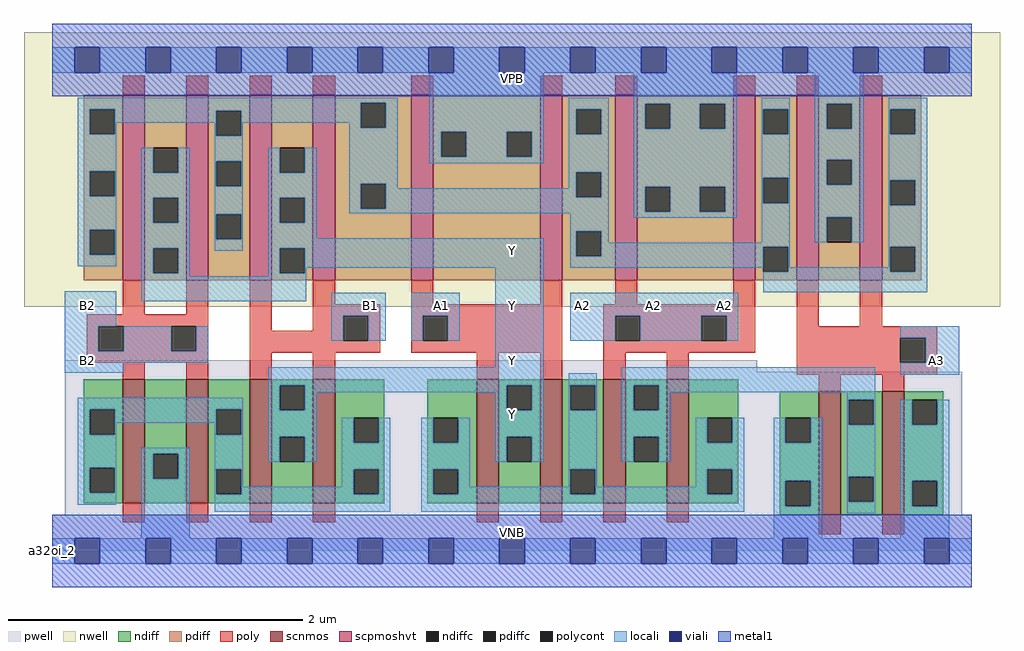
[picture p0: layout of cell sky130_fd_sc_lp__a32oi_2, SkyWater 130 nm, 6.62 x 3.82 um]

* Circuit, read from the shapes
.subckt sky130_fd_sc_lp__a32oi_2 A1 A2 A3 B1 B2 VGND VNB VPB VPWR Y
XM1 VGND B2 n1 VNB sky130_fd_pr__nfet_01v8 w=0.84 l=0.15 m=2
XM2 Y B1 n1 VNB sky130_fd_pr__nfet_01v8 w=0.84 l=0.15 m=2
XM3 Y A1 n2 VNB sky130_fd_pr__nfet_01v8 w=0.84 l=0.15 m=2
XM4 n3 A2 n2 VNB sky130_fd_pr__nfet_01v8 w=0.84 l=0.15 m=2
XM5 n3 A3 VGND VNB sky130_fd_pr__nfet_01v8 w=0.84 l=0.15 m=2
XM6 Y B2 n4 VPB sky130_fd_pr__pfet_01v8_hvt w=1.26 l=0.15 m=2
XM7 Y B1 n4 VPB sky130_fd_pr__pfet_01v8_hvt w=1.26 l=0.15 m=2
XM8 VPWR A1 n4 VPB sky130_fd_pr__pfet_01v8_hvt w=1.26 l=0.15 m=2
XM9 VPWR A2 n4 VPB sky130_fd_pr__pfet_01v8_hvt w=1.26 l=0.15 m=2
XM10 VPWR A3 n4 VPB sky130_fd_pr__pfet_01v8_hvt w=1.26 l=0.15 m=2
.ends

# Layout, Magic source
magic
tech sky130A
magscale 1 2
<< nwell >>
rect -38 331 1286 704
<< pwell >>
rect 17 243 957 259
rect 17 49 1235 243
rect 0 0 1248 49
<< scnmos >>
rect 96 65 126 233
rect 182 65 212 233
rect 268 65 298 233
rect 354 65 384 233
rect 576 65 606 233
rect 662 65 692 233
rect 748 65 778 233
rect 834 65 864 233
rect 1040 49 1070 217
rect 1126 49 1156 217
<< scpmoshvt >>
rect 96 367 126 619
rect 182 367 212 619
rect 268 367 298 619
rect 354 367 384 619
rect 487 367 517 619
rect 662 367 692 619
rect 764 367 794 619
rect 924 367 954 619
rect 1010 367 1040 619
rect 1096 367 1126 619
<< ndiff >>
rect 43 192 96 233
rect 43 158 51 192
rect 85 158 96 192
rect 43 113 96 158
rect 43 79 51 113
rect 85 79 96 113
rect 43 65 96 79
rect 126 132 182 233
rect 126 98 137 132
rect 171 98 182 132
rect 126 65 182 98
rect 212 192 268 233
rect 212 158 223 192
rect 257 158 268 192
rect 212 111 268 158
rect 212 77 223 111
rect 257 77 268 111
rect 212 65 268 77
rect 298 225 354 233
rect 298 191 309 225
rect 343 191 354 225
rect 298 155 354 191
rect 298 121 309 155
rect 343 121 354 155
rect 298 65 354 121
rect 384 181 451 233
rect 384 147 409 181
rect 443 147 451 181
rect 384 111 451 147
rect 384 77 409 111
rect 443 77 451 111
rect 384 65 451 77
rect 509 181 576 233
rect 509 147 517 181
rect 551 147 576 181
rect 509 111 576 147
rect 509 77 517 111
rect 551 77 576 111
rect 509 65 576 77
rect 606 225 662 233
rect 606 191 617 225
rect 651 191 662 225
rect 606 155 662 191
rect 606 121 617 155
rect 651 121 662 155
rect 606 65 662 121
rect 692 225 748 233
rect 692 191 703 225
rect 737 191 748 225
rect 692 111 748 191
rect 692 77 703 111
rect 737 77 748 111
rect 692 65 748 77
rect 778 225 834 233
rect 778 191 789 225
rect 823 191 834 225
rect 778 155 834 191
rect 778 121 789 155
rect 823 121 834 155
rect 778 65 834 121
rect 864 181 931 233
rect 864 147 889 181
rect 923 147 931 181
rect 864 111 931 147
rect 864 77 889 111
rect 923 77 931 111
rect 864 65 931 77
rect 987 181 1040 217
rect 987 147 995 181
rect 1029 147 1040 181
rect 987 95 1040 147
rect 987 61 995 95
rect 1029 61 1040 95
rect 987 49 1040 61
rect 1070 205 1126 217
rect 1070 171 1081 205
rect 1115 171 1126 205
rect 1070 101 1126 171
rect 1070 67 1081 101
rect 1115 67 1126 101
rect 1070 49 1126 67
rect 1156 205 1209 217
rect 1156 171 1167 205
rect 1201 171 1209 205
rect 1156 95 1209 171
rect 1156 61 1167 95
rect 1201 61 1209 95
rect 1156 49 1209 61
<< pdiff >>
rect 43 599 96 619
rect 43 565 51 599
rect 85 565 96 599
rect 43 515 96 565
rect 43 481 51 515
rect 85 481 96 515
rect 43 436 96 481
rect 43 402 51 436
rect 85 402 96 436
rect 43 367 96 402
rect 126 547 182 619
rect 126 513 137 547
rect 171 513 182 547
rect 126 479 182 513
rect 126 445 137 479
rect 171 445 182 479
rect 126 411 182 445
rect 126 377 137 411
rect 171 377 182 411
rect 126 367 182 377
rect 212 597 268 619
rect 212 563 223 597
rect 257 563 268 597
rect 212 529 268 563
rect 212 495 223 529
rect 257 495 268 529
rect 212 457 268 495
rect 212 423 223 457
rect 257 423 268 457
rect 212 367 268 423
rect 298 547 354 619
rect 298 513 309 547
rect 343 513 354 547
rect 298 479 354 513
rect 298 445 309 479
rect 343 445 354 479
rect 298 411 354 445
rect 298 377 309 411
rect 343 377 354 411
rect 298 367 354 377
rect 384 608 487 619
rect 384 574 419 608
rect 453 574 487 608
rect 384 498 487 574
rect 384 464 419 498
rect 453 464 487 498
rect 384 367 487 464
rect 517 569 662 619
rect 517 535 528 569
rect 562 535 617 569
rect 651 535 662 569
rect 517 367 662 535
rect 692 599 764 619
rect 692 565 711 599
rect 745 565 764 599
rect 692 514 764 565
rect 692 480 711 514
rect 745 480 764 514
rect 692 434 764 480
rect 692 400 711 434
rect 745 400 764 434
rect 692 367 764 400
rect 794 607 924 619
rect 794 573 805 607
rect 839 573 879 607
rect 913 573 924 607
rect 794 494 924 573
rect 794 460 805 494
rect 839 460 879 494
rect 913 460 924 494
rect 794 367 924 460
rect 954 599 1010 619
rect 954 565 965 599
rect 999 565 1010 599
rect 954 506 1010 565
rect 954 472 965 506
rect 999 472 1010 506
rect 954 413 1010 472
rect 954 379 965 413
rect 999 379 1010 413
rect 954 367 1010 379
rect 1040 607 1096 619
rect 1040 573 1051 607
rect 1085 573 1096 607
rect 1040 531 1096 573
rect 1040 497 1051 531
rect 1085 497 1096 531
rect 1040 453 1096 497
rect 1040 419 1051 453
rect 1085 419 1096 453
rect 1040 367 1096 419
rect 1126 599 1179 619
rect 1126 565 1137 599
rect 1171 565 1179 599
rect 1126 503 1179 565
rect 1126 469 1137 503
rect 1171 469 1179 503
rect 1126 413 1179 469
rect 1126 379 1137 413
rect 1171 379 1179 413
rect 1126 367 1179 379
<< ndiffc >>
rect 51 158 85 192
rect 51 79 85 113
rect 137 98 171 132
rect 223 158 257 192
rect 223 77 257 111
rect 309 191 343 225
rect 309 121 343 155
rect 409 147 443 181
rect 409 77 443 111
rect 517 147 551 181
rect 517 77 551 111
rect 617 191 651 225
rect 617 121 651 155
rect 703 191 737 225
rect 703 77 737 111
rect 789 191 823 225
rect 789 121 823 155
rect 889 147 923 181
rect 889 77 923 111
rect 995 147 1029 181
rect 995 61 1029 95
rect 1081 171 1115 205
rect 1081 67 1115 101
rect 1167 171 1201 205
rect 1167 61 1201 95
<< pdiffc >>
rect 51 565 85 599
rect 51 481 85 515
rect 51 402 85 436
rect 137 513 171 547
rect 137 445 171 479
rect 137 377 171 411
rect 223 563 257 597
rect 223 495 257 529
rect 223 423 257 457
rect 309 513 343 547
rect 309 445 343 479
rect 309 377 343 411
rect 419 574 453 608
rect 419 464 453 498
rect 528 535 562 569
rect 617 535 651 569
rect 711 565 745 599
rect 711 480 745 514
rect 711 400 745 434
rect 805 573 839 607
rect 879 573 913 607
rect 805 460 839 494
rect 879 460 913 494
rect 965 565 999 599
rect 965 472 999 506
rect 965 379 999 413
rect 1051 573 1085 607
rect 1051 497 1085 531
rect 1051 419 1085 453
rect 1137 565 1171 599
rect 1137 469 1171 503
rect 1137 379 1171 413
<< poly >>
rect 96 619 126 645
rect 182 619 212 645
rect 268 619 298 645
rect 354 619 384 645
rect 487 619 517 645
rect 662 619 692 645
rect 764 619 794 645
rect 924 619 954 645
rect 1010 619 1040 645
rect 1096 619 1126 645
rect 96 321 126 367
rect 182 321 212 367
rect 47 305 212 321
rect 47 271 63 305
rect 97 271 162 305
rect 196 271 212 305
rect 47 255 212 271
rect 96 233 126 255
rect 182 233 212 255
rect 268 299 298 367
rect 354 335 384 367
rect 487 335 517 367
rect 662 335 692 367
rect 764 335 794 367
rect 924 335 954 367
rect 354 319 445 335
rect 354 299 395 319
rect 268 285 395 299
rect 429 285 445 319
rect 268 269 445 285
rect 487 319 692 335
rect 487 285 503 319
rect 537 285 692 319
rect 487 269 692 285
rect 268 233 298 269
rect 354 233 384 269
rect 576 233 606 269
rect 662 233 692 269
rect 748 319 954 335
rect 748 285 764 319
rect 798 285 881 319
rect 915 285 954 319
rect 748 269 954 285
rect 1010 305 1040 367
rect 1096 305 1126 367
rect 1010 289 1201 305
rect 748 233 778 269
rect 834 233 864 269
rect 1010 255 1151 289
rect 1185 255 1201 289
rect 1010 239 1201 255
rect 1040 217 1070 239
rect 1126 217 1156 239
rect 96 39 126 65
rect 182 39 212 65
rect 268 39 298 65
rect 354 39 384 65
rect 576 39 606 65
rect 662 39 692 65
rect 748 39 778 65
rect 834 39 864 65
rect 1040 23 1070 49
rect 1126 23 1156 49
<< polycont >>
rect 63 271 97 305
rect 162 271 196 305
rect 395 285 429 319
rect 503 285 537 319
rect 764 285 798 319
rect 881 285 915 319
rect 1151 255 1185 289
<< locali >>
rect 0 649 31 683
rect 65 649 127 683
rect 161 649 223 683
rect 257 649 319 683
rect 353 649 415 683
rect 449 649 511 683
rect 545 649 607 683
rect 641 649 703 683
rect 737 649 799 683
rect 833 649 895 683
rect 929 649 991 683
rect 1025 649 1087 683
rect 1121 649 1183 683
rect 1217 649 1248 683
rect 35 608 469 615
rect 35 599 419 608
rect 35 565 51 599
rect 85 597 419 599
rect 85 581 223 597
rect 85 565 87 581
rect 35 515 87 565
rect 221 563 223 581
rect 257 581 419 597
rect 257 563 259 581
rect 35 481 51 515
rect 85 481 87 515
rect 35 436 87 481
rect 35 402 51 436
rect 85 402 87 436
rect 35 386 87 402
rect 121 513 137 547
rect 171 513 187 547
rect 121 479 187 513
rect 121 445 137 479
rect 171 445 187 479
rect 121 411 187 445
rect 121 377 137 411
rect 171 377 187 411
rect 221 529 259 563
rect 403 574 419 581
rect 453 574 469 608
rect 221 495 223 529
rect 257 495 259 529
rect 221 457 259 495
rect 221 423 223 457
rect 257 423 259 457
rect 221 407 259 423
rect 293 513 309 547
rect 343 513 359 547
rect 293 479 359 513
rect 293 445 309 479
rect 343 445 359 479
rect 403 498 469 574
rect 512 569 667 649
rect 512 535 528 569
rect 562 535 617 569
rect 651 535 667 569
rect 512 526 667 535
rect 701 599 755 615
rect 701 565 711 599
rect 745 565 755 599
rect 403 464 419 498
rect 453 492 469 498
rect 701 514 755 565
rect 701 492 711 514
rect 453 480 711 492
rect 745 480 755 514
rect 453 464 755 480
rect 403 458 755 464
rect 293 424 359 445
rect 703 434 755 458
rect 789 607 929 649
rect 789 573 805 607
rect 839 573 879 607
rect 913 573 929 607
rect 789 494 929 573
rect 789 460 805 494
rect 839 460 879 494
rect 913 460 929 494
rect 789 452 929 460
rect 963 599 1001 615
rect 963 565 965 599
rect 999 565 1001 599
rect 963 506 1001 565
rect 963 472 965 506
rect 999 472 1001 506
rect 293 411 667 424
rect 121 373 187 377
rect 293 377 309 411
rect 343 384 667 411
rect 703 400 711 434
rect 745 418 755 434
rect 963 418 1001 472
rect 1035 607 1101 649
rect 1035 573 1051 607
rect 1085 573 1101 607
rect 1035 531 1101 573
rect 1035 497 1051 531
rect 1085 497 1101 531
rect 1035 453 1101 497
rect 1035 419 1051 453
rect 1085 419 1101 453
rect 1135 599 1187 615
rect 1135 565 1137 599
rect 1171 565 1187 599
rect 1135 503 1187 565
rect 1135 469 1137 503
rect 1171 469 1187 503
rect 745 413 1001 418
rect 745 400 965 413
rect 703 384 965 400
rect 343 377 345 384
rect 293 373 345 377
rect 17 305 87 352
rect 121 339 345 373
rect 379 319 453 350
rect 17 271 63 305
rect 97 271 162 305
rect 196 271 212 305
rect 379 285 395 319
rect 429 285 453 319
rect 487 319 553 350
rect 487 285 503 319
rect 537 285 553 319
rect 17 255 212 271
rect 17 242 97 255
rect 601 249 667 384
rect 999 385 1001 413
rect 1135 413 1187 469
rect 1135 385 1137 413
rect 999 379 1137 385
rect 1171 379 1187 413
rect 965 351 1187 379
rect 703 319 931 350
rect 703 285 764 319
rect 798 285 881 319
rect 915 285 931 319
rect 1151 289 1231 305
rect 1185 255 1231 289
rect 293 225 667 249
rect 35 192 259 208
rect 35 158 51 192
rect 85 174 223 192
rect 85 158 87 174
rect 35 113 87 158
rect 221 158 223 174
rect 257 158 259 192
rect 35 79 51 113
rect 85 79 87 113
rect 35 63 87 79
rect 121 132 187 140
rect 121 98 137 132
rect 171 98 187 132
rect 121 17 187 98
rect 221 111 259 158
rect 293 191 309 225
rect 343 215 617 225
rect 343 191 359 215
rect 293 155 359 191
rect 601 191 617 215
rect 651 191 667 225
rect 293 121 309 155
rect 343 121 359 155
rect 393 147 409 181
rect 443 147 459 181
rect 221 77 223 111
rect 257 87 259 111
rect 393 111 459 147
rect 393 87 409 111
rect 257 77 409 87
rect 443 77 459 111
rect 221 53 459 77
rect 501 147 517 181
rect 551 147 567 181
rect 501 111 567 147
rect 601 155 667 191
rect 601 121 617 155
rect 651 121 667 155
rect 701 225 739 241
rect 701 191 703 225
rect 737 191 739 225
rect 501 77 517 111
rect 551 87 567 111
rect 701 111 739 191
rect 773 225 1117 249
rect 1151 239 1231 255
rect 773 191 789 225
rect 823 215 1117 225
rect 823 191 839 215
rect 773 155 839 191
rect 1079 205 1117 215
rect 773 121 789 155
rect 823 121 839 155
rect 873 147 889 181
rect 923 147 939 181
rect 701 87 703 111
rect 551 77 703 87
rect 737 87 739 111
rect 873 111 939 147
rect 873 87 889 111
rect 737 77 889 87
rect 923 77 939 111
rect 501 53 939 77
rect 979 147 995 181
rect 1029 147 1045 181
rect 979 95 1045 147
rect 979 61 995 95
rect 1029 61 1045 95
rect 979 17 1045 61
rect 1079 171 1081 205
rect 1115 171 1117 205
rect 1079 101 1117 171
rect 1079 67 1081 101
rect 1115 67 1117 101
rect 1079 51 1117 67
rect 1151 171 1167 205
rect 1201 171 1217 205
rect 1151 95 1217 171
rect 1151 61 1167 95
rect 1201 61 1217 95
rect 1151 17 1217 61
rect 0 -17 31 17
rect 65 -17 127 17
rect 161 -17 223 17
rect 257 -17 319 17
rect 353 -17 415 17
rect 449 -17 511 17
rect 545 -17 607 17
rect 641 -17 703 17
rect 737 -17 799 17
rect 833 -17 895 17
rect 929 -17 991 17
rect 1025 -17 1087 17
rect 1121 -17 1183 17
rect 1217 -17 1248 17
<< viali >>
rect 31 649 65 683
rect 127 649 161 683
rect 223 649 257 683
rect 319 649 353 683
rect 415 649 449 683
rect 511 649 545 683
rect 607 649 641 683
rect 703 649 737 683
rect 799 649 833 683
rect 895 649 929 683
rect 991 649 1025 683
rect 1087 649 1121 683
rect 1183 649 1217 683
rect 31 -17 65 17
rect 127 -17 161 17
rect 223 -17 257 17
rect 319 -17 353 17
rect 415 -17 449 17
rect 511 -17 545 17
rect 607 -17 641 17
rect 703 -17 737 17
rect 799 -17 833 17
rect 895 -17 929 17
rect 991 -17 1025 17
rect 1087 -17 1121 17
rect 1183 -17 1217 17
<< metal1 >>
rect 0 683 1248 715
rect 0 649 31 683
rect 65 649 127 683
rect 161 649 223 683
rect 257 649 319 683
rect 353 649 415 683
rect 449 649 511 683
rect 545 649 607 683
rect 641 649 703 683
rect 737 649 799 683
rect 833 649 895 683
rect 929 649 991 683
rect 1025 649 1087 683
rect 1121 649 1183 683
rect 1217 649 1248 683
rect 0 617 1248 649
rect 0 17 1248 49
rect 0 -17 31 17
rect 65 -17 127 17
rect 161 -17 223 17
rect 257 -17 319 17
rect 353 -17 415 17
rect 449 -17 511 17
rect 545 -17 607 17
rect 641 -17 703 17
rect 737 -17 799 17
rect 833 -17 895 17
rect 929 -17 991 17
rect 1025 -17 1087 17
rect 1121 -17 1183 17
rect 1217 -17 1248 17
rect 0 -49 1248 -17
<< labels >>
flabel pwell s 0 0 1248 49 0 FreeSans 200 0 0 0 VNB
port 7 nsew ground bidirectional
flabel nwell s 0 617 1248 666 0 FreeSans 200 0 0 0 VPB
port 8 nsew power bidirectional
rlabel comment s 0 0 0 0 4 a32oi_2
flabel metal1 s 0 617 1248 666 0 FreeSans 340 0 0 0 VPWR
port 9 nsew power bidirectional
flabel metal1 s 0 0 1248 49 0 FreeSans 340 0 0 0 VGND
port 6 nsew ground bidirectional
flabel locali s 607 168 641 202 0 FreeSans 340 0 0 0 Y
port 10 nsew signal output
flabel locali s 607 242 641 276 0 FreeSans 340 0 0 0 Y
port 10 nsew signal output
flabel locali s 607 316 641 350 0 FreeSans 340 0 0 0 Y
port 10 nsew signal output
flabel locali s 607 390 641 424 0 FreeSans 340 0 0 0 Y
port 10 nsew signal output
flabel locali s 511 316 545 350 0 FreeSans 340 0 0 0 A1
port 1 nsew signal input
flabel locali s 703 316 737 350 0 FreeSans 340 0 0 0 A2
port 2 nsew signal input
flabel locali s 799 316 833 350 0 FreeSans 340 0 0 0 A2
port 2 nsew signal input
flabel locali s 895 316 929 350 0 FreeSans 340 0 0 0 A2
port 2 nsew signal input
flabel locali s 1183 242 1217 276 0 FreeSans 340 0 0 0 A3
port 3 nsew signal input
flabel locali s 415 316 449 350 0 FreeSans 340 0 0 0 B1
port 4 nsew signal input
flabel locali s 31 242 65 276 0 FreeSans 340 0 0 0 B2
port 5 nsew signal input
flabel locali s 31 316 65 350 0 FreeSans 340 0 0 0 B2
port 5 nsew signal input
<< properties >>
string LEFsite unit
string LEFclass CORE
string FIXED_BBOX 0 0 1248 666
string GDS_FILE $PDKPATH/libs.ref/sky130_fd_sc_lp/gds/sky130_fd_sc_lp.gds
string LEFsymmetry X Y R90
string GDS_END 1038588
string GDS_START 1027526
<< end >>
